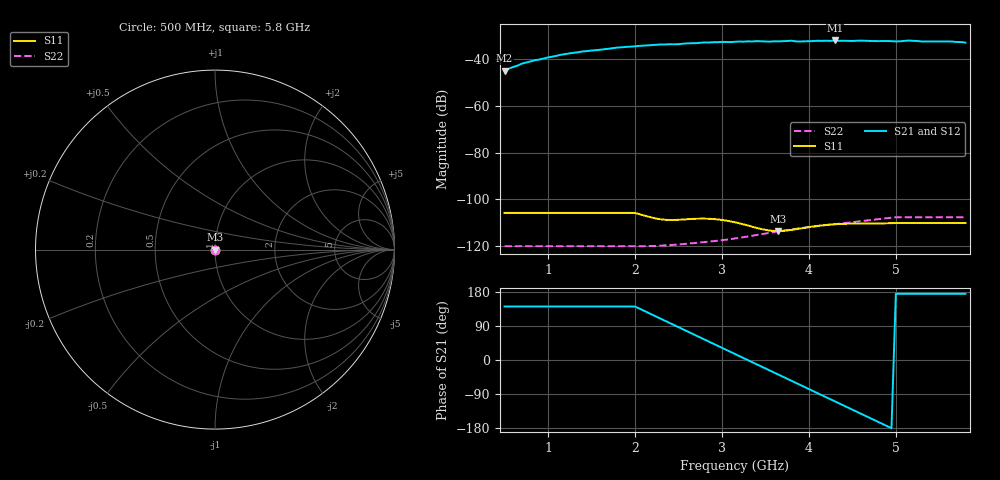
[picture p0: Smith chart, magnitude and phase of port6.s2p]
# GHZ S RI R 50
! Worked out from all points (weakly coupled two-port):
!   107 points, 500 MHz to 5.8 GHz, reference 50 ohm
!   highest |S21| = -31.88 dB at 4.3 GHz (marker M1); lowest = -44.9 dB at 500 MHz (marker M2)
!   lowest |S11| = -113.6 dB at 3.65 GHz (marker M3), VSWR 1.00, Z = 50 - j0.000126 ohm
!   |S11| at or under -10 dB: start of sweep to end of sweep
!   |S22| runs from -120.1 to -107.7 dB; largest |S21 - S12| = 0
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0.5  6.71e-07 5.05e-06  -0.00443 0.00357  -0.00443 0.00357  9.43e-07 2.87e-07
0.7  6.71e-07 5.05e-06  -0.00633 0.0051  -0.00633 0.0051  9.43e-07 2.87e-07
0.85  6.71e-07 5.05e-06  -0.00749 0.00603  -0.00749 0.00603  9.43e-07 2.87e-07
1.15  6.71e-07 5.05e-06  -0.00981 0.0079  -0.00981 0.0079  9.43e-07 2.87e-07
1.4  6.71e-07 5.05e-06  -0.0115 0.00929  -0.0115 0.00929  9.43e-07 2.87e-07
1.8  6.71e-07 5.05e-06  -0.014 0.0112  -0.014 0.0112  9.43e-07 2.87e-07
2.3  3.02e-06 2.14e-06  -0.00663 0.0199  -0.00663 0.0199  7.98e-07 -6.19e-07
2.5  3.62e-06 3.11e-08  0.00124 0.0211  0.00124 0.0211  2.8e-07 -1.03e-06
2.8  3.08e-06 -2.28e-06  0.0136 0.0187  0.0136 0.0187  -8.91e-07 -8.14e-07
3.15  1.11e-06 -3.01e-06  0.023 0.00651  0.023 0.00651  -1.11e-06 9.17e-07
3.4  -4.38e-07 -2.39e-06  0.0241 -0.00486  0.0241 -0.00486  2.43e-07 1.69e-06
3.65  -1.66e-06 -1.26e-06  0.019 -0.0152  0.019 -0.0152  1.83e-06 9.1e-07
3.8  -2.14e-06 -4.96e-07  0.0144 -0.0206  0.0144 -0.0206  2.24e-06 -1.79e-07
3.9  -2.36e-06 4e-09  0.00991 -0.0221  0.00991 -0.0221  2.18e-06 -9.81e-07
4.05  -2.51e-06 7.04e-07  0.00339 -0.0245  0.00339 -0.0245  1.58e-06 -2.05e-06
4.3  -2.38e-06 1.67e-06  -0.00841 -0.024  -0.00841 -0.024  -3.07e-07 -2.91e-06
4.95  -5.67e-07 3.02e-06  -0.0246 -1.68e-05  -0.0246 -1.68e-05  -3.78e-06 1.36e-06
5.05  -3.86e-07 3.07e-06  -0.0243 0.0023  -0.0243 0.0023  -3.64e-06 1.91e-06
5.15  -3.86e-07 3.07e-06  -0.0252 0.00238  -0.0252 0.00238  -3.64e-06 1.91e-06
5.3  -3.86e-07 3.07e-06  -0.024 0.00227  -0.024 0.00227  -3.64e-06 1.91e-06
5.6  -3.86e-07 3.07e-06  -0.0242 0.00229  -0.0242 0.00229  -3.64e-06 1.91e-06
5.8  -3.86e-07 3.07e-06  -0.0228 0.00215  -0.0228 0.00215  -3.64e-06 1.91e-06
